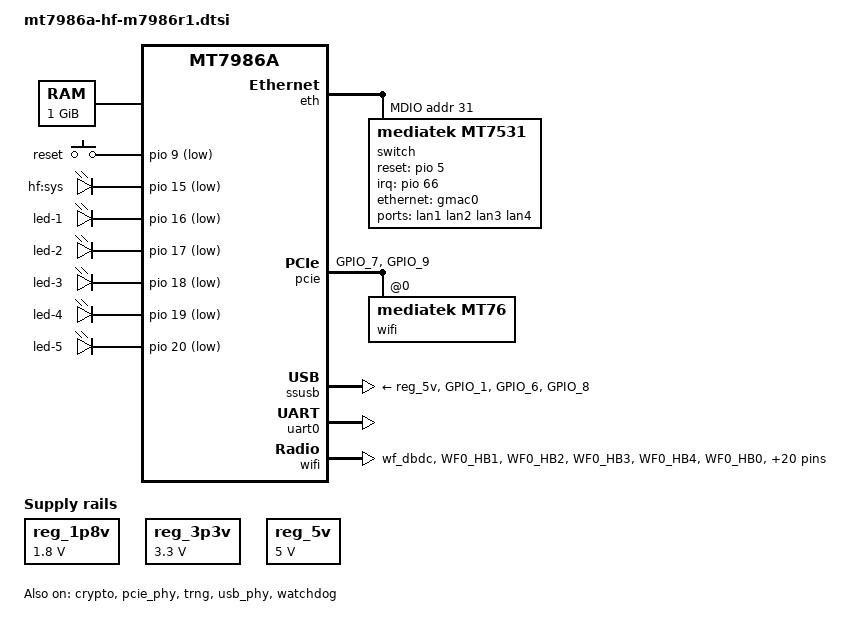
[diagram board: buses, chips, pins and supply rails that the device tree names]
// SPDX-License-Identifier: GPL-2.0-or-later OR MIT

/dts-v1/;
#include <dt-bindings/gpio/gpio.h>
#include <dt-bindings/input/input.h>
#include <dt-bindings/leds/common.h>

#include "mt7986a.dtsi"

/ {
	aliases {
		serial0 = &uart0;
		led-boot = &sys_led;
		led-failsafe = &sys_led;
		led-running = &sys_led;
		led-upgrade = &sys_led;
	};

	chosen {
		stdout-path = "serial0:115200n8";
	};

	memory@40000000 {
		reg = <0 0x40000000 0 0x40000000>;
	};

	keys {
		compatible = "gpio-keys";

		reset {
			label = "reset";
			linux,code = <KEY_RESTART>;
			gpios = <&pio 9 GPIO_ACTIVE_LOW>;
		};
	};

	gpio-leds {
		compatible = "gpio-leds";

		sys_led: led-0 {
			label = "hf:sys";
			gpios = <&pio 15 GPIO_ACTIVE_LOW>;
		};

		led-1 {
			label = "led-1";
			gpios = <&pio 16 GPIO_ACTIVE_LOW>;
		};

		led-2 {
			label = "led-2";
			gpios = <&pio 17 GPIO_ACTIVE_LOW>;
		};

		led-3 {
			label = "led-3";
			gpios = <&pio 18 GPIO_ACTIVE_LOW>;
		};

		led-4 {
			label = "led-4";
			gpios = <&pio 19 GPIO_ACTIVE_LOW>;
		};

		led-5 {
			label = "led-5";
			gpios = <&pio 20 GPIO_ACTIVE_LOW>;
		};
	};

	reg_1p8v: regulator-1p8v {
		compatible = "regulator-fixed";
		regulator-name = "fixed-1.8V";
		regulator-min-microvolt = <1800000>;
		regulator-max-microvolt = <1800000>;
		regulator-boot-on;
		regulator-always-on;
	};

	reg_3p3v: regulator-3p3v {
		compatible = "regulator-fixed";
		regulator-name = "fixed-3.3V";
		regulator-min-microvolt = <3300000>;
		regulator-max-microvolt = <3300000>;
		regulator-boot-on;
		regulator-always-on;
	};

	reg_5v: regulator-5v {
		compatible = "regulator-fixed";
		regulator-name = "fixed-5V";
		regulator-min-microvolt = <5000000>;
		regulator-max-microvolt = <5000000>;
		regulator-boot-on;
		regulator-always-on;
	};
};

&crypto {
	status = "okay";
};

&eth {
	status = "okay";

	gmac0: mac@0 {
		compatible = "mediatek,eth-mac";
		reg = <0>;
		phy-mode = "2500base-x";

		fixed-link {
			speed = <2500>;
			full-duplex;
			pause;
		};
	};

	mdio: mdio-bus {
		#address-cells = <1>;
		#size-cells = <0>;
	};
};

&mdio {
	switch: switch@1f {
		compatible = "mediatek,mt7531";
		reg = <31>;
		reset-gpios = <&pio 5 GPIO_ACTIVE_HIGH>;
		interrupt-controller;
		#interrupt-cells = <1>;
		interrupt-parent = <&pio>;
		interrupts = <66 IRQ_TYPE_LEVEL_HIGH>;
	};
};

&pcie {
	pinctrl-names = "default";
	pinctrl-0 = <&pcie_pins>;
	status = "okay";

	pcie@0,0 {
		reg = <0x0000 0 0 0 0>;

		wifi@0,0 {
			compatible = "mediatek,mt76";
			reg = <0x0000 0 0 0 0>;
		};
	};
};

&pcie_phy {
	status = "okay";
};

&pio {
	pcie_pins: pcie-pins {
		power-pcie {
			pins = "GPIO_7";
			drive-strength = <8>;
			mediatek,pull-up-adv = <1>;
		};

		reset-pcie {
			pins = "GPIO_9";
			drive-strength = <8>;
			mediatek,pull-down-adv = <1>;
			output-low;
		};
	};

	usb_pins: usb-pins {
		reset-sata {
			pins = "GPIO_1";
			drive-strength = <8>;
			mediatek,pull-up-adv = <1>;
		};

		power-m2 {
			pins = "GPIO_6";
			drive-strength = <8>;
			mediatek,pull-up-adv = <1>;
		};

		reset-m2 {
			pins = "GPIO_8";
			drive-strength = <8>;
			mediatek,pull-down-adv = <1>;
			output-low;
		};
	};

	wf_dbdc_pins: wf-dbdc-pins {
		mux {
			function = "wifi";
			groups = "wf_dbdc";
		};
		conf {
			pins = "WF0_HB1", "WF0_HB2", "WF0_HB3", "WF0_HB4",
			       "WF0_HB0", "WF0_HB0_B", "WF0_HB5", "WF0_HB6",
			       "WF0_HB7", "WF0_HB8", "WF0_HB9", "WF0_HB10",
			       "WF0_TOP_CLK", "WF0_TOP_DATA", "WF1_HB1",
			       "WF1_HB2", "WF1_HB3", "WF1_HB4", "WF1_HB0",
			       "WF1_HB5", "WF1_HB6", "WF1_HB7", "WF1_HB8",
			       "WF1_TOP_CLK", "WF1_TOP_DATA";
			drive-strength = <4>;
		};
	};
};

&ssusb {
	pinctrl-names = "default";
	pinctrl-0 = <&usb_pins>;
	vusb33-supply = <&reg_3p3v>;
	vbus-supply = <&reg_5v>;
	status = "okay";
};

&switch {
	ports {
		#address-cells = <1>;
		#size-cells = <0>;

		port@0 {
			reg = <0>;
			label = "lan1";
		};

		port@1 {
			reg = <1>;
			label = "lan2";
		};

		port@2 {
			reg = <2>;
			label = "lan3";
		};

		port@3 {
			reg = <3>;
			label = "lan4";
		};

		port@6 {
			reg = <6>;
			ethernet = <&gmac0>;
			phy-mode = "2500base-x";

			fixed-link {
				speed = <2500>;
				full-duplex;
				pause;
			};
		};
	};
};

&trng {
	status = "okay";
};

&uart0 {
	status = "okay";
};

&usb_phy {
	status = "okay";
};

&watchdog {
	status = "okay";
};

&wifi {
	pinctrl-names = "dbdc";
	pinctrl-0 = <&wf_dbdc_pins>;
	status = "okay";
};
